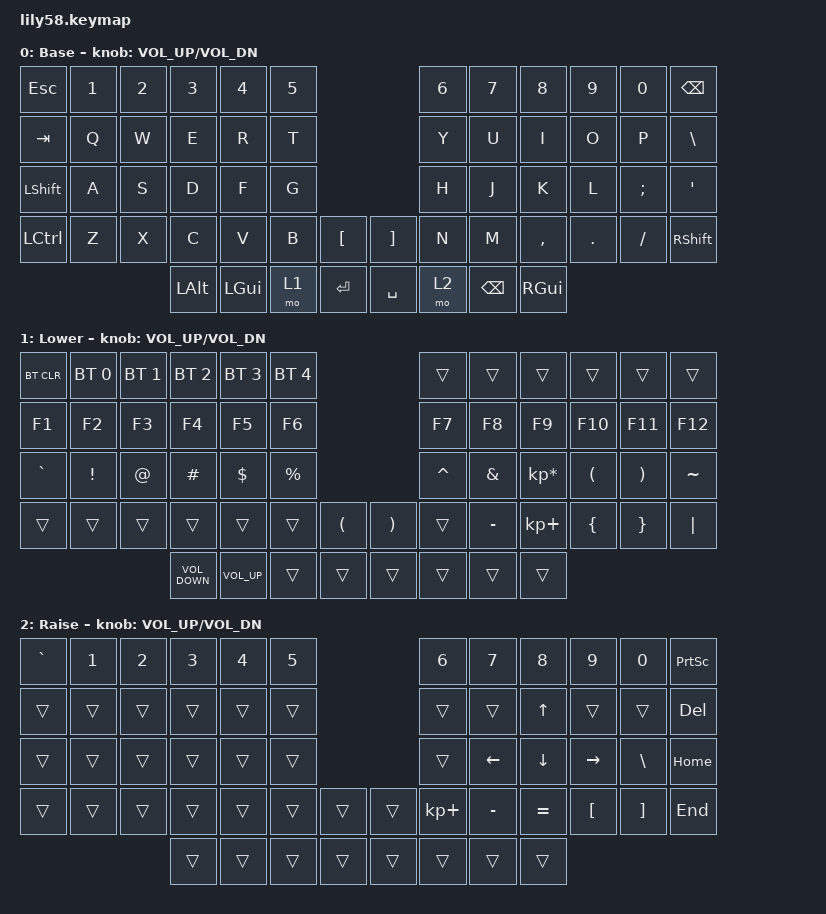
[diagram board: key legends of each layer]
/*
 * Copyright (c) 2020 The ZMK Contributors
 *
 * SPDX-License-Identifier: MIT
 */

#include <behaviors.dtsi>
#include <dt-bindings/zmk/bt.h>
#include <dt-bindings/zmk/keys.h>

/ {
    keymap {
        compatible = "zmk,keymap";

        default_layer {
            // ------------------------------------------------------------------------------------------------------------
            // |  ESC  |  1  |  2  |  3   |  4   |  5   |                   |  6   |  7    |  8    |  9   |   0   |   `   |
            // |  TAB  |  Q  |  W  |  E   |  R   |  T   |                   |  Y   |  U    |  I    |  O   |   P   |   -   |
            // |  CTRL |  A  |  S  |  D   |  F   |  G   |                   |  H   |  J    |  K    |  L   |   ;   |   '   |
            // | SHIFT |  Z  |  X  |  C   |  V   |  B   |   "["  |  |  "]"  |  N   |  M    |  ,    |  .   |   /   | SHIFT |
            //                     | ALT  | GUI  | LOWER|  SPACE |  | ENTER | RAISE| BSPC  | GUI   |

            display-name = "Base";
            bindings = <
&kp ESC           &kp N1  &kp N2  &kp N3    &kp N4    &kp N5                          &kp N6  &kp N7    &kp N8     &kp N9   &kp N0    &kp BACKSPACE
&kp TAB           &kp Q   &kp W   &kp E     &kp R     &kp T                           &kp Y   &kp U     &kp I      &kp O    &kp P     &kp BACKSLASH
&kp LEFT_SHIFT    &kp A   &kp S   &kp D     &kp F     &kp G                           &kp H   &kp J     &kp K      &kp L    &kp SEMI  &kp SQT
&kp LEFT_CONTROL  &kp Z   &kp X   &kp C     &kp V     &kp B   &kp LBKT     &kp RBKT   &kp N   &kp M     &kp COMMA  &kp DOT  &kp FSLH  &kp RSHFT
                                  &kp LALT  &kp LGUI  &mo 1   &kp ENTER    &kp SPACE  &mo 2   &kp BSPC  &kp RGUI
            >;

            sensor-bindings = <&inc_dec_kp C_VOL_UP C_VOL_DN>;
        };

        lower_layer {
            // ------------------------------------------------------------------------------------------------------------
            // | BTCLR | BT1 | BT2 |  BT3 |  BT4 |  BT5 |                   |      |       |       |      |       |       |
            // |  F1   |  F2 |  F3 |  F4  |  F5  |  F6  |                   |  F7  |  F8   |  F9   |  F10 |  F11  |  F12  |
            // |   `   |  !  |  @  |  #   |  $   |  %   |                   |  ^   |  &    |  *    |  (   |   )   |   ~   |
            // |       |     |     |      |      |      |        |  |       |      |  _    |  +    |  {   |   }   |  "|"  |
            //                     |      |      |      |        |  |       |      |       |       |

            display-name = "Lower";
            bindings = <
&bt BT_CLR  &bt BT_SEL 0  &bt BT_SEL 1  &bt BT_SEL 2       &bt BT_SEL 3     &bt BT_SEL 4                                                 &trans     &trans     &trans           &trans    &trans    &trans
&kp F1      &kp F2        &kp F3        &kp F4             &kp F5           &kp F6                                                       &kp F7     &kp F8     &kp F9           &kp F10   &kp F11   &kp F12
&kp GRAVE   &kp EXCL      &kp AT        &kp HASH           &kp DOLLAR       &kp PRCNT                                                    &kp CARET  &kp AMPS   &kp KP_MULTIPLY  &kp LPAR  &kp RPAR  &kp TILDE
&trans      &trans        &trans        &trans             &trans           &trans        &kp LEFT_PARENTHESIS    &kp RIGHT_PARENTHESIS  &trans     &kp MINUS  &kp KP_PLUS      &kp LBRC  &kp RBRC  &kp PIPE
                                        &kp C_VOLUME_DOWN  &kp C_VOLUME_UP  &trans        &trans                  &trans                 &trans     &trans     &trans
            >;

            sensor-bindings = <&inc_dec_kp C_VOL_UP C_VOL_DN>;
        };

        raise_layer {
            // ------------------------------------------------------------------------------------------------------------
            // |       |     |     |      |      |      |                   |      |       |       |      |       |       |
            // |   `   |  1  |  2  |  3   |  4   |  5   |                   |  6   |   7   |   8   |  9   |   0   |       |
            // |   F1  |  F2 |  F3 |  F4  |  F5  |  F6  |                   |      |   <-  |   v   |  ^   |  ->   |       |
            // |   F7  |  F8 |  F9 |  F10 |  F11 |  F12 |        |  |       |  +   |   -   |   =   |  [   |   ]   |   \   |
            //                     |      |      |      |        |  |       |      |       |       |

            display-name = "Raise";
            bindings = <
&kp GRAVE  &kp N1  &kp N2  &kp N3  &kp N4  &kp N5                    &kp N6       &kp N7     &kp N8        &kp N9     &kp N0         &kp PRINTSCREEN
&trans     &trans  &trans  &trans  &trans  &trans                    &trans       &trans     &kp UP_ARROW  &trans     &trans         &kp DELETE
&trans     &trans  &trans  &trans  &trans  &trans                    &trans       &kp LEFT   &kp DOWN      &kp RIGHT  &kp BACKSLASH  &kp HOME
&trans     &trans  &trans  &trans  &trans  &trans  &trans    &trans  &kp KP_PLUS  &kp MINUS  &kp EQUAL     &kp LBKT   &kp RBKT       &kp END
                           &trans  &trans  &trans  &trans    &trans  &trans       &trans     &trans
            >;

            sensor-bindings = <&inc_dec_kp C_VOL_UP C_VOL_DN>;
        };
    };
};
